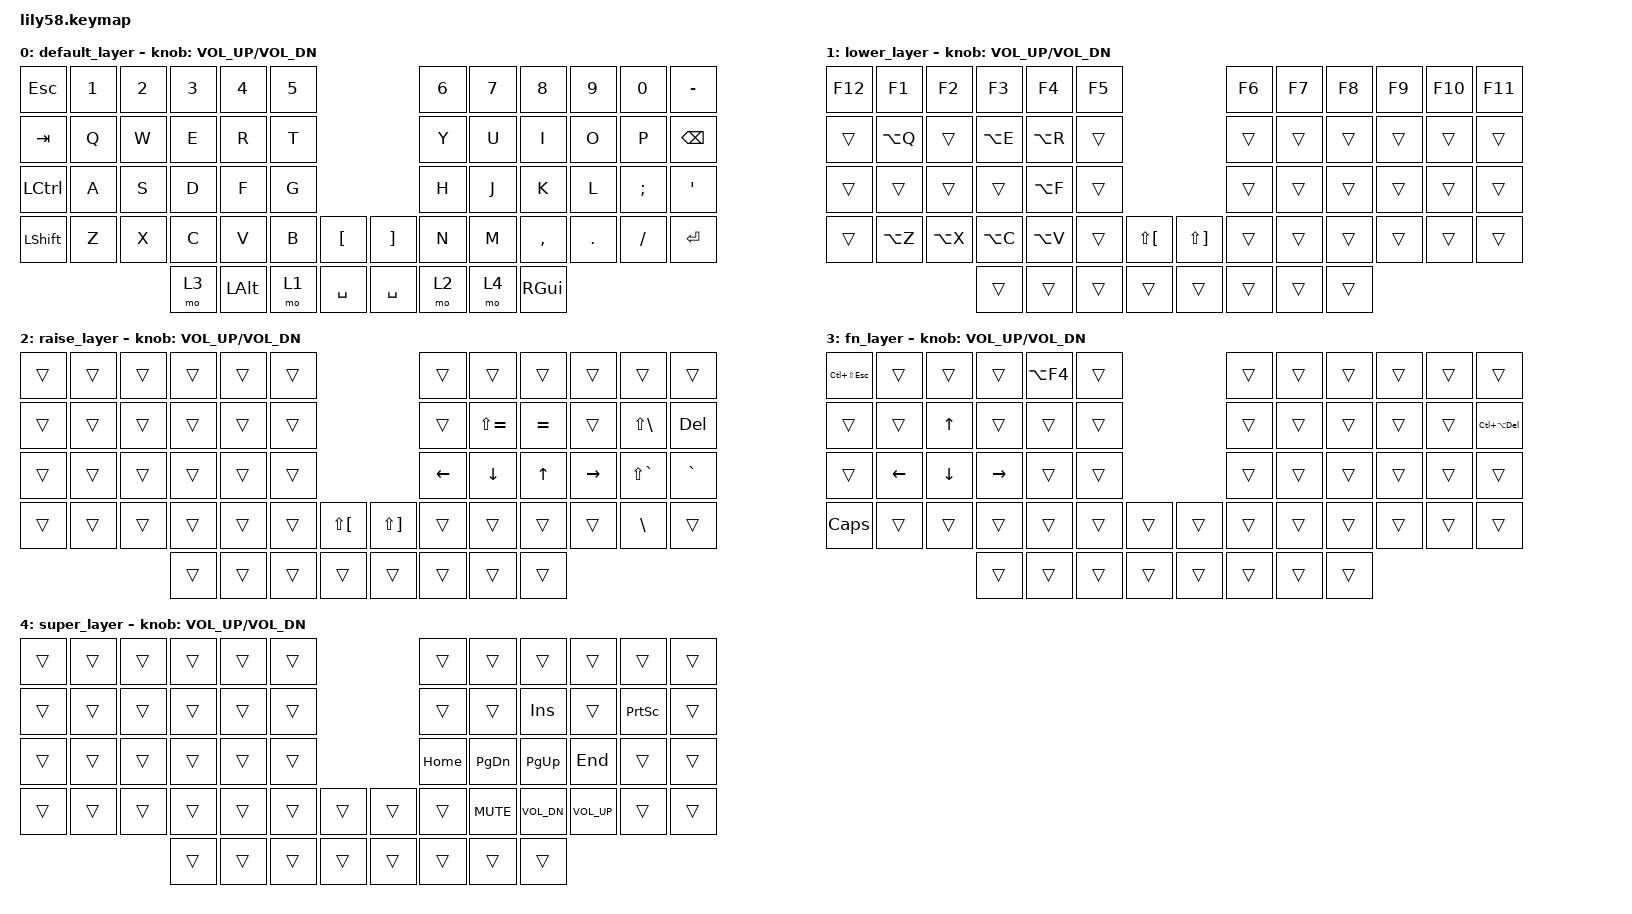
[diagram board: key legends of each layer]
/*
 * Copyright (c) 2020 The ZMK Contributors
 *
 * SPDX-License-Identifier: MIT
 */

#include <behaviors.dtsi>
#include <dt-bindings/zmk/keys.h>
#include <dt-bindings/zmk/bt.h>
#include <dt-bindings/zmk/ext_power.h>

/ {
    keymap {
        compatible = "zmk,keymap";

        default_layer {
// ------------------------------------------------------------------------------------------------------------
// |  ESC  |  1  |  2  |  3   |  4   |  5   |                   |  6   |  7    |  8    |  9   |   0   |   -   |
// |  TAB  |  Q  |  W  |  E   |  R   |  T   |                   |  Y   |  U    |  I    |  O   |   P   | BSPC  |
// |  CTRL |  A  |  S  |  D   |  F   |  G   |                   |  H   |  J    |  K    |  L   |   ;   |   '   |
// | SHIFT |  Z  |  X  |  C   |  V   |  B   |   "["  |  |  "]"  |  N   |  M    |  ,    |  .   |   /   | SHIFT |
//                     | MO3  | ALT  | LOWER|  SPACE |  | SPACE | RAISE| MO4  | GUI   |
            bindings = <
&kp ESC   &kp N1 &kp N2 &kp N3   &kp N4   &kp N5                     &kp N6 &kp N7   &kp N8    &kp N9  &kp N0   &kp MINUS
&kp TAB   &kp Q  &kp W  &kp E    &kp R    &kp T                      &kp Y  &kp U    &kp I     &kp O   &kp P    &kp BSPC
&kp LCTRL &kp A  &kp S  &kp D    &kp F    &kp G                      &kp H  &kp J    &kp K     &kp L   &kp SEMI &kp SQT
&kp LSHFT &kp Z  &kp X  &kp C    &kp V    &kp B  &kp LBKT   &kp RBKT &kp N  &kp M    &kp COMMA &kp DOT &kp FSLH &kp RET
                        &mo 3 &kp LALT &mo 1  &kp SPACE  &kp SPACE  &mo 2  &mo 4 &kp RGUI
            >;

            sensor-bindings = <&inc_dec_kp C_VOL_UP C_VOL_DN>;
        };

        lower_layer {
// ------------------------------------------------------------------------------------------------------------
// | BTCLR | BT1 | BT2 |  BT3 |  BT4 |  BT5 |                   |      |       |       |      |       |       |
// |  F1   |  F2 |  F3 |  F4  |  F5  |  F6  |                   |  F7  |  F8   |  F9   |  F10 |  F11  |  F12  |
// |   `   |  !  |  @  |  #   |  $   |  %   |                   |  ^   |  &    |  *    |  (   |   )   |   ~   |
// |       |     |     |      |      |      |        |  |       |      |  _    |  +    |  {   |   }   |  "|"  |
//                     |      |      |      |        |  |       |      |       |       |
            bindings = <
&kp F12     &kp F1    &kp F2     &kp F3     &kp F4     &kp F5                                   &kp F6      &kp F7    &kp F8    &kp F9   &kp F10   &kp F11
&trans      &kp LA(Q) &trans     &kp LA(E)  &kp LA(R)  &trans                                   &trans      &trans    &trans    &trans   &trans    &trans
&trans      &trans    &trans     &trans     &kp LA(F)  &trans                                   &trans      &trans    &trans    &trans   &trans    &trans
&trans      &kp LA(Z) &kp LA(X)  &kp LA(C)  &kp LA(V)  &trans   &kp LS(LBKT)    &kp LS(RBKT)    &trans      &trans    &trans    &trans   &trans    &trans
                      &trans     &trans     &trans     &trans                                   &trans      &trans    &trans    &trans
            >;

            sensor-bindings = <&inc_dec_kp C_VOL_UP C_VOL_DN>;
        };

        raise_layer {
// ------------------------------------------------------------------------------------------------------------
// |       |     |     |      |      |      |                   |      |       |       |      |       |       |
// |   `   |  1  |  2  |  3   |  4   |  5   |                   |  6   |   7   |   8   |  9   |   0   |       |
// |   F1  |  F2 |  F3 |  F4  |  F5  |  F6  |                   |      |   <-  |   v   |  ^   |  ->   |       |
// |   F7  |  F8 |  F9 |  F10 |  F11 |  F12 |        |  |       |  +   |   -   |   =   |  [   |   ]   |   \   |
//                     |      |      |      |        |  |       |      |       |       |
            bindings = <
&trans    &trans &trans &trans  &trans  &trans                       &trans      &trans    &trans    &trans   &trans    &trans
&trans    &trans &trans &trans  &trans  &trans                       &trans      &kp LS(EQUAL)   &kp EQUAL    &trans   &kp LS(BSLH)    &kp DEL
&trans    &trans &trans &trans  &trans  &trans                       &kp LEFT    &kp DOWN  &kp UP    &kp RIGHT   &kp LS(GRAVE)    &kp GRAVE
&trans    &trans &trans &trans  &trans  &trans    &kp LS(LBKT)   &kp LS(RBKT)    &trans      &trans    &trans    &trans   &kp BSLH   &trans
                        &trans  &trans  &trans    &trans   &trans    &trans      &trans    &trans
            >;

            sensor-bindings = <&inc_dec_kp C_VOL_UP C_VOL_DN>;
        };

        fn_layer {
            bindings = <
&kp LC(LS(ESC))    &trans &trans &trans  &kp LA(F4)  &trans                       &trans      &trans    &trans    &trans   &trans    &trans
&trans    &trans &kp UP &trans  &trans  &trans                       &trans      &trans    &trans    &trans   &trans    &kp LC(LA(DEL))
&trans    &kp LEFT &kp DOWN &kp RIGHT  &trans  &trans                       &trans      &trans    &trans    &trans   &trans    &trans
&kp CAPS    &trans &trans &trans  &trans  &trans    &trans   &trans    &trans      &trans    &trans    &trans   &trans   &trans
                        &trans  &trans  &trans    &trans   &trans    &trans      &trans    &trans
            >;

            sensor-bindings = <&inc_dec_kp C_VOL_UP C_VOL_DN>;
        };

        super_layer {
            bindings = <
&trans    &trans &trans &trans  &trans  &trans                       &trans      &trans    &trans    &trans   &trans    &trans
&trans    &trans &trans &trans  &trans  &trans                       &trans      &trans    &kp INS     &trans   &kp PSCRN    &trans
&trans    &trans &trans &trans  &trans  &trans                       &kp HOME     &kp PG_DN    &kp PG_UP    &kp END   &trans    &trans
&trans    &trans &trans &trans  &trans  &trans    &trans   &trans    &trans      &kp K_MUTE   &kp K_VOL_DN   &kp K_VOL_UP  &trans   &trans
                        &trans  &trans  &trans    &trans   &trans    &trans      &trans    &trans
            >;

            sensor-bindings = <&inc_dec_kp C_VOL_UP C_VOL_DN>;
        };
    };
};
